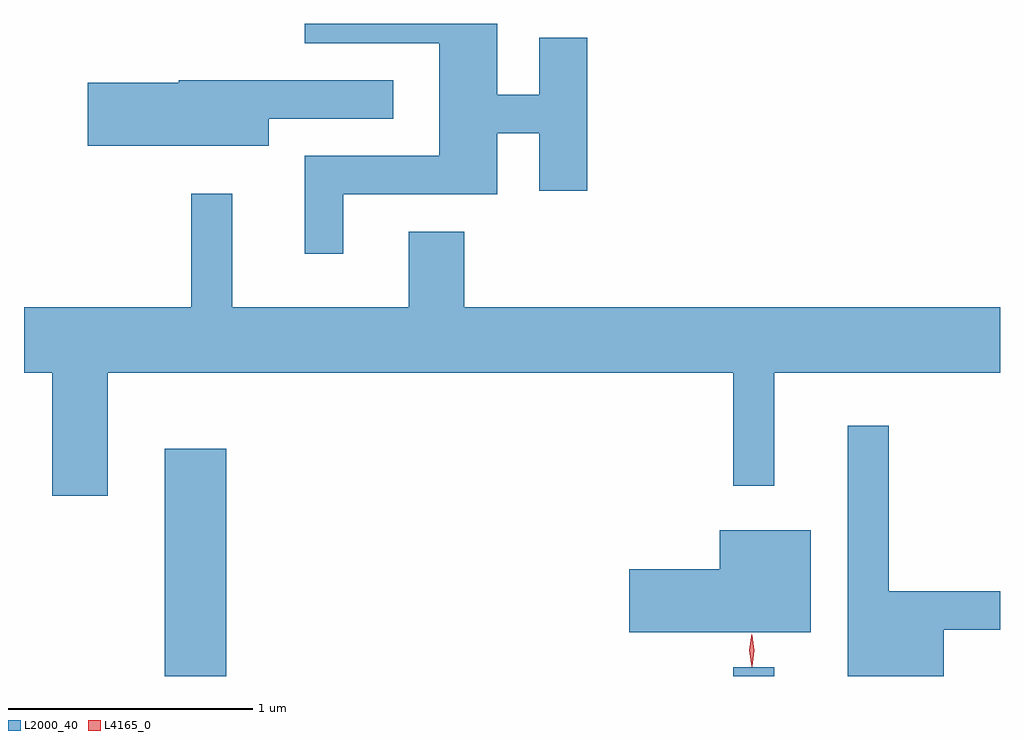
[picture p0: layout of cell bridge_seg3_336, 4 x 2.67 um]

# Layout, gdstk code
import gdstk
lib = gdstk.Library(unit=1e-6, precision=1e-09)
def R(c, l, rs):  # rectangles x0, y0, x1, y1
    for r in rs: c.add(gdstk.rectangle(r[:2], r[2:], *l))
def P(c, l, *ps):  # polygons
    for p in ps: c.add(gdstk.Polygon(p, *l))
L2000_40 = (2000, 40)
L4165_0 = (4165, 0)

bridge_seg3_336 = lib.new_cell('bridge_seg3_336')
R(bridge_seg3_336, L2000_40, [(562.671,1115.892,562.924,1116.824), (565.001,1115.892,565.169,1115.928)])
P(bridge_seg3_336, L2000_40, [(563.404,1117.866),(564.034,1117.866),(564.034,1118.116),(564.206,1118.116),(564.206,1117.881),(564.404,1117.881),(564.404,1118.509),(564.206,1118.509),(564.206,1118.274),(564.034,1118.274),(564.034,1118.565),(563.246,1118.565),(563.246,1118.486),(563.796,1118.486),(563.796,1118.024),(563.246,1118.024),(563.246,1117.623),(563.404,1117.623)],
  [(563.099,1118.176),(563.608,1118.176),(563.608,1118.334),(562.73,1118.334),(562.73,1118.324),(562.356,1118.324),(562.356,1118.066),(563.099,1118.066)],
  [(562.439,1117.136),(565.001,1117.136),(565.001,1116.673),(565.169,1116.673),(565.169,1117.136),(566.095,1117.136),(566.095,1117.404),(563.899,1117.404),(563.899,1117.714),(563.671,1117.714),(563.671,1117.404),(562.949,1117.404),(562.949,1117.868),(562.781,1117.868),(562.781,1117.404),(562.095,1117.404),(562.095,1117.136),(562.211,1117.136),(562.211,1116.631),(562.439,1116.631)],
  [(565.864,1116.081),(566.095,1116.081),(566.095,1116.239),(565.639,1116.239),(565.639,1116.918),(565.471,1116.918),(565.471,1115.892),(565.864,1115.892)],
  [(565.319,1116.489),(564.946,1116.489),(564.946,1116.329),(564.576,1116.329),(564.576,1116.071),(565.319,1116.071)])
P(bridge_seg3_336, L4165_0, [(565.078,1115.93),(565.068,1115.998),(565.077,1116.065),(565.078,1116.066),(565.078,1116.065),(565.088,1115.998),(565.079,1115.93),(565.079,1115.93)],
  [(565.079,1115.933),(565.078,1115.934),(565.068,1115.996),(565.078,1116.06),(565.078,1116.06),(565.079,1116.06),(565.088,1115.996),(565.079,1115.934)])

lib.write_gds('bridge_seg3_336.gds')
